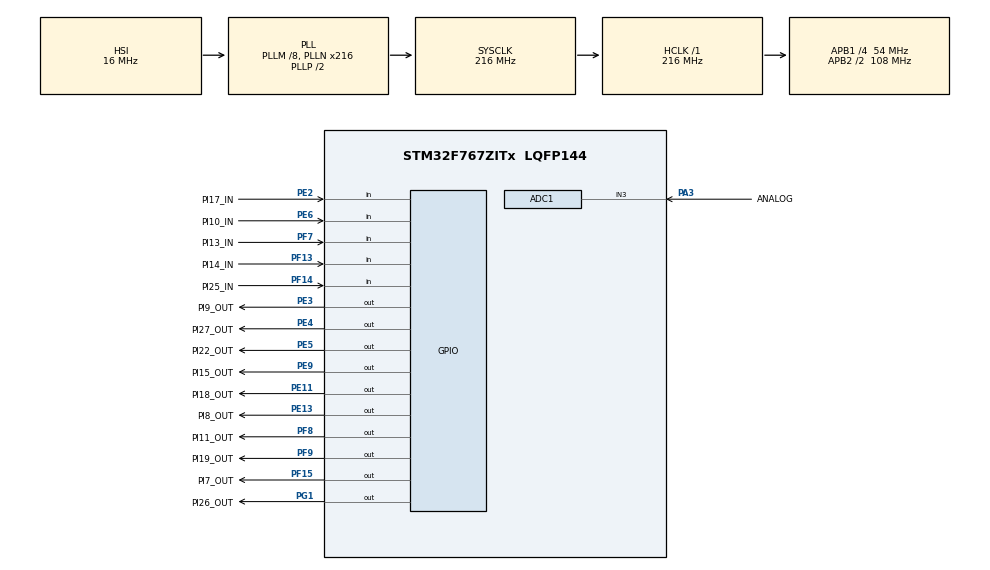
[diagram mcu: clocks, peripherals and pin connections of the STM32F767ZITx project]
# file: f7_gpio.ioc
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ADC1.Channel-1\#ChannelRegularConversion=ADC_CHANNEL_3
ADC1.ClockPrescaler=ADC_CLOCK_SYNC_PCLK_DIV8
ADC1.ContinuousConvMode=ENABLE
ADC1.EOCSelection=ADC_EOC_SEQ_CONV
ADC1.NbrOfConversion=1
ADC1.NbrOfConversionFlag=1
ADC1.Rank-1\#ChannelRegularConversion=1
ADC1.SamplingTime-1\#ChannelRegularConversion=ADC_SAMPLETIME_3CYCLES
ADC1.ScanConvMode=ADC_SCAN_ENABLE
ADC1.master=1
Mcu.Family=STM32F7
Mcu.Name=STM32F767ZITx
Mcu.Package=LQFP144
NVIC.PriorityGroup=NVIC_PRIORITYGROUP_4
PA3.GPIO_Label=ANALOG
PA3.Signal=ADCx_IN3
PE11.GPIO_Label=PI18_OUT
PE11.GPIO_Speed=GPIO_SPEED_FREQ_VERY_HIGH
PE11.Signal=GPIO_Output
PE13.GPIO_Label=PI8_OUT
PE13.GPIO_Speed=GPIO_SPEED_FREQ_VERY_HIGH
PE13.Signal=GPIO_Output
PE2.GPIO_Label=PI17_IN
PE2.Signal=GPIO_Input
PE3.GPIO_Label=PI9_OUT
PE3.GPIO_Speed=GPIO_SPEED_FREQ_VERY_HIGH
PE3.Signal=GPIO_Output
PE4.GPIO_Label=PI27_OUT
PE4.GPIO_Speed=GPIO_SPEED_FREQ_VERY_HIGH
PE4.Signal=GPIO_Output
PE5.GPIO_Label=PI22_OUT
PE5.GPIO_Speed=GPIO_SPEED_FREQ_VERY_HIGH
PE5.Signal=GPIO_Output
PE6.GPIO_Label=PI10_IN
PE6.Signal=GPIO_Input
PE9.GPIO_Label=PI15_OUT
PE9.GPIO_Speed=GPIO_SPEED_FREQ_VERY_HIGH
PE9.Signal=GPIO_Output
PF13.GPIO_Label=PI14_IN
PF13.Signal=GPIO_Input
PF14.GPIO_Label=PI25_IN
PF14.Signal=GPIO_Input
PF15.GPIO_Label=PI7_OUT
PF15.GPIO_Speed=GPIO_SPEED_FREQ_VERY_HIGH
PF15.Signal=GPIO_Output
PF7.GPIO_Label=PI13_IN
PF7.Signal=GPIO_Input
PF8.GPIO_Label=PI11_OUT
PF8.GPIO_Speed=GPIO_SPEED_FREQ_VERY_HIGH
PF8.Signal=GPIO_Output
PF9.GPIO_Label=PI19_OUT
PF9.GPIO_Speed=GPIO_SPEED_FREQ_VERY_HIGH
PF9.Signal=GPIO_Output
PG1.GPIO_Label=PI26_OUT
PG1.GPIO_Speed=GPIO_SPEED_FREQ_VERY_HIGH
PG1.Signal=GPIO_Output
ProjectManager.HeapSize=0x200
ProjectManager.StackSize=0x400
ProjectManager.TargetToolchain=STM32CubeIDE
RCC.AHBFreq_Value=216000000
RCC.APB1CLKDivider=RCC_HCLK_DIV4
RCC.APB1Freq_Value=54000000
RCC.APB1TimFreq_Value=108000000
RCC.APB2CLKDivider=RCC_HCLK_DIV2
RCC.APB2Freq_Value=108000000
RCC.APB2TimFreq_Value=216000000
RCC.CortexFreq_Value=216000000
RCC.HCLKFreq_Value=216000000
RCC.HSE_VALUE=25000000
RCC.HSI_VALUE=16000000
RCC.LSE_VALUE=32768
RCC.PLLM=8
RCC.PLLN=216
RCC.SYSCLKFreq_VALUE=216000000
RCC.SYSCLKSource=RCC_SYSCLKSOURCE_PLLCLK
RCC.USBFreq_Value=216000000
RCC.VCOOutputFreq_Value=432000000
SH.ADCx_IN3.0=ADC1_IN3,IN3
board=custom

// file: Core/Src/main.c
/* USER CODE BEGIN Header */
/**
  ******************************************************************************
  * @file           : main.c
  * @brief          : Main program body
  ******************************************************************************
  * @attention
  *
  * Copyright (c) 2022 STMicroelectronics.
  * All rights reserved.
  *
  * This software is licensed under terms that can be found in the LICENSE file
  * in the root directory of this software component.
  * If no LICENSE file comes with this software, it is provided AS-IS.
  *
  ******************************************************************************
  */
/* USER CODE END Header */
#include "main.h"
#include "adc.h"
#include "gpio.h"

void SystemClock_Config(void);

int main(void)
{

  /* MCU Configuration--------------------------------------------------------*/

  /* Reset of all peripherals, Initializes the Flash interface and the Systick. */
  HAL_Init();

  /* Configure the system clock */
  SystemClock_Config();

  /* Initialize all configured peripherals */
  MX_GPIO_Init();
  MX_ADC1_Init();

  /* Infinite loop */
  /* USER CODE BEGIN WHILE */
  HAL_ADC_Start(&hadc1);
  volatile uint32_t adc_val = 0;
  int count = 1;
  int setter = 0;
  while (1)
  {
    /* USER CODE END WHILE */

    /* USER CODE BEGIN 3 */
	  auto state = HAL_GPIO_ReadPin(PI14_IN_GPIO_Port, PI14_IN_Pin) == GPIO_PIN_SET;
	  if(state == 1){
		  setter = 1;
		  continue;
	  }
	  if(state == 0 && setter == 1){
		  setter = 0;
		  count++;
		  if(count == 3){
			  count=0;
		  }
	  }
	  if(count == 0){
		  HAL_GPIO_WritePin(PI15_OUT_GPIO_Port, PI15_OUT_Pin, GPIO_PIN_RESET);
		  HAL_GPIO_WritePin(PI18_OUT_GPIO_Port, PI18_OUT_Pin, GPIO_PIN_RESET);
	  }
	  if(count == 1){
	  	  HAL_GPIO_WritePin(PI15_OUT_GPIO_Port, PI15_OUT_Pin, GPIO_PIN_SET);
	          HAL_GPIO_WritePin(PI18_OUT_GPIO_Port, PI18_OUT_Pin, GPIO_PIN_RESET);
	  }
	  if(count == 2){
	  	  HAL_GPIO_WritePin(PI15_OUT_GPIO_Port, PI15_OUT_Pin, GPIO_PIN_RESET);
	  	  HAL_GPIO_WritePin(PI18_OUT_GPIO_Port, PI18_OUT_Pin, GPIO_PIN_SET);
	  }

  }
  /* USER CODE END 3 */
}

void SystemClock_Config(void)
{
  RCC_OscInitTypeDef RCC_OscInitStruct = {0};
  RCC_ClkInitTypeDef RCC_ClkInitStruct = {0};

  /** Configure the main internal regulator output voltage
  */
  __HAL_RCC_PWR_CLK_ENABLE();
  __HAL_PWR_VOLTAGESCALING_CONFIG(PWR_REGULATOR_VOLTAGE_SCALE1);

  /** Initializes the RCC Oscillators according to the specified parameters
  * in the RCC_OscInitTypeDef structure.
  */
  RCC_OscInitStruct.OscillatorType = RCC_OSCILLATORTYPE_HSI;
  RCC_OscInitStruct.HSIState = RCC_HSI_ON;
  RCC_OscInitStruct.HSICalibrationValue = RCC_HSICALIBRATION_DEFAULT;
  RCC_OscInitStruct.PLL.PLLState = RCC_PLL_ON;
  RCC_OscInitStruct.PLL.PLLSource = RCC_PLLSOURCE_HSI;
  RCC_OscInitStruct.PLL.PLLM = 8;
  RCC_OscInitStruct.PLL.PLLN = 216;
  RCC_OscInitStruct.PLL.PLLP = RCC_PLLP_DIV2;
  RCC_OscInitStruct.PLL.PLLQ = 2;
  RCC_OscInitStruct.PLL.PLLR = 2;
  if (HAL_RCC_OscConfig(&RCC_OscInitStruct) != HAL_OK)
  {
    Error_Handler();
  }

  /** Activate the Over-Drive mode
  */
  if (HAL_PWREx_EnableOverDrive() != HAL_OK)
  {
    Error_Handler();
  }

  /** Initializes the CPU, AHB and APB buses clocks
  */
  RCC_ClkInitStruct.ClockType = RCC_CLOCKTYPE_HCLK|RCC_CLOCKTYPE_SYSCLK
                              |RCC_CLOCKTYPE_PCLK1|RCC_CLOCKTYPE_PCLK2;
  RCC_ClkInitStruct.SYSCLKSource = RCC_SYSCLKSOURCE_PLLCLK;
  RCC_ClkInitStruct.AHBCLKDivider = RCC_SYSCLK_DIV1;
  RCC_ClkInitStruct.APB1CLKDivider = RCC_HCLK_DIV4;
  RCC_ClkInitStruct.APB2CLKDivider = RCC_HCLK_DIV2;

  if (HAL_RCC_ClockConfig(&RCC_ClkInitStruct, FLASH_LATENCY_7) != HAL_OK)
  {
    Error_Handler();
  }
}

void Error_Handler(void)
{
  __disable_irq();
  while (1)
  {
  }
}
